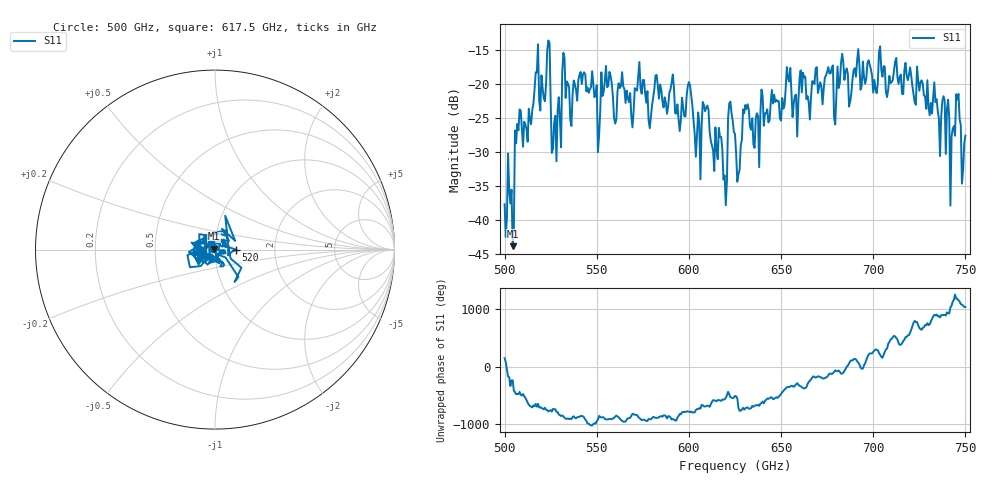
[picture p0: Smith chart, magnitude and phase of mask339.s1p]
!Created with skrf (http://scikit-rf.org).
# GHz S MA R 50.0
!freq magS11 angS11
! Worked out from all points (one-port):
!   401 points, 500 GHz to 750 GHz, reference 50 ohm
!   lowest |S11| = -43.8 dB at 504.4 GHz (marker M1), VSWR 1.01, Z = 49.6 + j0.535 ohm
!   |S11| at or under -10 dB: start of sweep to end of sweep
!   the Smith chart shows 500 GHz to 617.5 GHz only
!   S11 on the Smith chart (normalised r, x): 500 GHz: 0.98, +0.01; 520 GHz: 1.26, +0.00; 617.5 GHz: 0.95, +0.06
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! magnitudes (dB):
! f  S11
! 500 GHz  -37.6
! 504.4 GHz  -43.8
! 506.9 GHz  -25.8
! 520 GHz  -18.7
! 523.8 GHz  -13.5
! 526.9 GHz  -25.7
! 531.2 GHz  -18.3
! 542.5 GHz  -18.5
! 550.6 GHz  -30.0
! 562.5 GHz  -20.5
! 579.4 GHz  -24.8
! 590.6 GHz  -19.7
! 593.8 GHz  -22.9
! 600 GHz  -19.7
! 605 GHz  -24.1
! 608.8 GHz  -23.9
! 617.5 GHz  -27.7
! 619.4 GHz  -33.4
! 622.5 GHz  -22.5
! 625 GHz  -27.3
! 627.5 GHz  -32.5
! 630.6 GHz  -23.0
! 656.2 GHz  -24.8
! 687.5 GHz  -22.5
! 718.8 GHz  -19.4
! 743.1 GHz  -26.5
! 746.2 GHz  -21.4
! 750 GHz  -27.5
